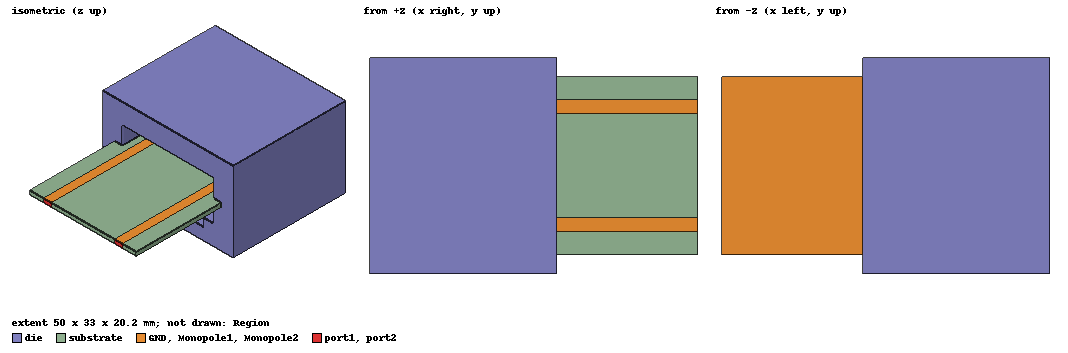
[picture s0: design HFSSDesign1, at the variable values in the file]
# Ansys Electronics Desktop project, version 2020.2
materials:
  vacuum: permittivity=1
  Rogers RT/duroid 5880 (tm): permittivity=2.2 dielectric_loss_tangent=0.0009
  Rogers RO3003 (tm): permittivity=3 dielectric_loss_tangent=0.0013
  Rogers RO3010 (tm): permittivity=10.2 dielectric_loss_tangent=0.0035
  material1: permittivity=6 dielectric_loss_tangent=0.0035 delta_H_freq=2400000000
  material2: permittivity=7 dielectric_loss_tangent=0.0035 delta_H_freq=2400000000
  material3: permittivity=8 dielectric_loss_tangent=0.0035 delta_H_freq=2400000000
  material4: permittivity=9 dielectric_loss_tangent=0.0035 delta_H_freq=2400000000
  material5: permittivity=10 dielectric_loss_tangent=0.0035 delta_H_freq=2400000000
  material6: permittivity=11 dielectric_loss_tangent=0.0035 delta_H_freq=2400000000
  material7: permittivity=12 dielectric_loss_tangent=0.0035 delta_H_freq=2400000000
  material8: permittivity=13 dielectric_loss_tangent=0.0035 delta_H_freq=2400000000
  material9: permittivity=14 dielectric_loss_tangent=0.0035 delta_H_freq=2400000000
  material10: permittivity=6 dielectric_loss_tangent=0.0035 delta_H_freq=2400000000
  material20: permittivity=7 dielectric_loss_tangent=0.0035 delta_H_freq=2400000000
  material30: permittivity=8 dielectric_loss_tangent=0.0035 delta_H_freq=2400000000
  Material11: permittivity=10.5

design HFSSDesign1 (HFSS, DrivenModal, model units mm)
options: Calculate_Lossy_Dielectrics
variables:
  distance1 = 18mm
  l_monopole = 24.5mm
  d_monopole = ddd
  d_50ohm = ddd
  l_sub = 48mm
  w_sub = 27mm
  h_sub = 1mm
  d_die = 5mm
  rad1 = 1.8mm
  ddd = 2mm
  lz = 4.6mm
  ly = 5mm
  dz1 = 5mm
  dy1 = w_sub/2-2mm
  dz2 = dz1+lz
  dy2 = dy1+ly
  pz = 5mm
  nl1 = 30mm
  matr = 9
  exd = 2mm
  sld = 2mm
  slh = 2mm
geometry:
  substrate [Rogers RT/duroid 5880 (tm)] = box(corner=(-l_sub/2, -w_sub/2, 0), size=(l_sub, w_sub, h_sub))
  GND = rectangle(corner=(l_sub/2, -w_sub/2, 0), x_size=-l_sub+l_monopole, y_size=w_sub)
  Monopole1 = rectangle(corner=(-l_sub/2, -distance1/2-d_monopole/2, h_sub), x_size=l_sub, y_size=d_monopole)
  port1 = rectangle(corner=(l_sub/2, -distance1/2-d_50ohm/2, 0), y_size=d_50ohm, z_size=h_sub)
  Region [vacuum] = region(absolute_offset=21.428571mm on all sides)
  Monopole2 = rectangle(corner=(-l_sub/2, distance1/2-d_monopole/2, h_sub), x_size=l_sub, y_size=d_monopole)
  port2 = rectangle(corner=(l_sub/2, distance1/2-d_50ohm/2, 0), y_size=d_50ohm, z_size=h_sub)
  die [Rogers RO3010 (tm)] = box(corner=(-l_sub/2-exd, -dy2, -dz2), size=(l_monopole+2*exd, dy2*2, dz2*2+1mm))
  Box2 = box(corner=(-l_sub/2-2mm, -dy1, -dz1+0.5mm), size=(l_sub, 2*dy1, 2*dz1))
  die.subtract(Box2)
  substrate_1 = substrate.copy()
  die.subtract(substrate_1)
  Box3 = box(corner=(-l_sub/2+l_monopole+2mm, -1mm, -dz1+0.5mm), size=(-nl1, sld, -slh))
  Box3_1, Box3_2 = Box3.duplicate_along_line(step=(0mm, 4mm, 0mm), total=3)
  Box3_3, Box3_4 = Box3.duplicate_along_line(step=(0mm, -4mm, 0mm), total=3)
  Box3_1.unite(Box3_2, Box3_3, Box3_4, Box3)
  substrate1 = box(corner=(-l_sub/2, -w_sub/2, -0.1mm), size=(l_sub, w_sub, h_sub+0.2mm))
  die.subtract(substrate1)
  die.subtract(Box3_1)
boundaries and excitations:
  pec1: Perfect E Objects=Monopole1
  pecg: Perfect E Objects=GND
  Rad1: Radiation Objects=Region
  PerfE1: Perfect E Objects=Monopole2
  1: Lumped Port Objects=port1 Modes{Mode1{IntLine{middle of port1.edge(z at corner) -> middle of port1.edge(z opposite corner)} CharImp=Zpi RenormImp=50ohm}} Impedance=50ohm
  2: Lumped Port Objects=port2 Modes{Mode1{IntLine{middle of port2.edge(z at corner) -> middle of port2.edge(z opposite corner)} CharImp=Zpi RenormImp=50ohm}} Impedance=50ohm
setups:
  Setup1: HfssDriven Frequency=3.5GHz MaxDeltaS=0.02 MaximumPasses=6 MinimumPasses=1 MinimumConvergedPasses=1 PercentRefinement=30 BasisOrder=1 PortAccuracy=2
    sweep Sweep: 3GHz to 4GHz, 200 points; Type=Interpolating InterpTolerance=0.5 InterpMaxSolns=250 InterpUsePortImped=false
  Setup2: HfssDriven Frequency=4GHz MaxDeltaS=0.02 MaximumPasses=6 MinimumPasses=1 MinimumConvergedPasses=1 PercentRefinement=30 BasisOrder=1 PortAccuracy=2
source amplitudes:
  1:1, 2:1: 1W 0deg
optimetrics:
  lz: Parametric Sim._Setups=[Setup1, Setup2]
    sweep lz: LIN 3mm 7mm 0.5mm
  ly: Parametric Sim._Setups=[Setup1, Setup2]
    sweep ly: LIN 3mm 7mm 0.5mm
  exd: Parametric Sim._Setups=[Setup1, Setup2]
    sweep exd: LIN 1mm 3mm 0.5mm
  dz1: Parametric Sim._Setups=[Setup1, Setup2]
    sweep dz1: LIN 3mm 7mm 0.5mm
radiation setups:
  Infinite Sphere1: Infinite Sphere Theta=0deg..180deg step 2deg Phi=-180deg..180deg step 2deg
  Infinite Sphere2: Infinite Sphere Theta=90deg..90deg step 2deg Phi=0deg..360deg step 2deg
  Infinite Sphere3: Infinite Sphere Theta=0deg..360deg step 2deg Phi=90deg..90deg step 2deg
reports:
  S Parameter Plot 1: dB(S(2,1)) vs Freq on Setup1 : Sweep; dB(S(1,1)) vs Freq; markers MY1 at y=-10, MY2 at y=-20
  S Parameter Plot 2: dB(S(1,1)) vs Freq on Setup1 : Sweep
